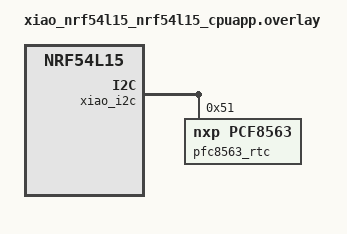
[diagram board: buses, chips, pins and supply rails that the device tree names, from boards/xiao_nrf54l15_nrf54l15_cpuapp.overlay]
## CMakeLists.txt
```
# SPDX-License-Identifier: Apache-2.0

cmake_minimum_required(VERSION 3.20.0)
find_package(Zephyr REQUIRED HINTS $ENV{ZEPHYR_BASE})
project(expansion_rtc)

target_sources(app PRIVATE
  src/main.c
)
```

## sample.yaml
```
sample:
  name: Expansion Board RTC (PCF8563)
  description: Real-time clock sample using PCF8563 RTC chip
tests:
  sample.rtc.expansion_rtc:
    harness: console
    platform_allow:
      - nrf52840dk/nrf52840
      - nrf5340dk/nrf5340/cpuapp
      - xiao_nrf54l15/nrf54l15/cpuapp
    tags: rtc i2c expansion pcf8563 time
    integration_platforms:
      - xiao_nrf54l15/nrf54l15/cpuapp
```

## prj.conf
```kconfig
# Enable I2C driver
CONFIG_I2C=y
# Enable RTC framework
CONFIG_RTC=y
# Enable PCF8563 RTC specific driver
CONFIG_RTC_PCF8563=y
```

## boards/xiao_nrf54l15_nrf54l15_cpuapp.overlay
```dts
/ {
	chosen {
		zephyr,rtc = &pfc8563_rtc;
	};
    
	aliases {
		rtc = &pfc8563_rtc;
	};
};

&xiao_i2c {
	status = "okay";

	pfc8563_rtc: pfc8563@51 {
		compatible = "nxp,pcf8563";
		reg = <0x51>;
		status = "okay";
	};
};
```

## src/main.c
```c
#include <zephyr/kernel.h>
#include <zephyr/device.h>
#include <zephyr/drivers/rtc.h>
#include <stdio.h>
#include <time.h> // For struct tm

// Define RTC device alias from device tree
#define RTC_DEVICE_NODE DT_ALIAS(rtc)

static const struct device *rtc_dev;

/**
 * @brief Sets the RTC date and time.
 *
 * @param dev Pointer to the RTC device structure.
 * @param year Year (e.g., 2025)
 * @param month Month (1-12)
 * @param day Day (1-31)
 * @param hour Hour (0-23)
 * @param minute Minute (0-59)
 * @param second Second (0-59)
 * @return 0 on success, or a negative errno code on failure.
 */
int set_rtc_time(const struct device *dev, int year, int month, int day, 
                 int hour, int minute, int second)
{
    struct rtc_time new_time;
    struct tm temp_tm = {0}; // Temporary struct tm for conversion

    // Populate temporary tm structure
    temp_tm.tm_year = year - 1900; // tm_year is years since 1900
    temp_tm.tm_mon = month - 1;   // tm_mon is months since January (0-11)
    temp_tm.tm_mday = day;
    temp_tm.tm_hour = hour;
    temp_tm.tm_min = minute;
    temp_tm.tm_sec = second;

    // Convert to struct rtc_time
    new_time.tm_year = temp_tm.tm_year;
    new_time.tm_mon = temp_tm.tm_mon;
    new_time.tm_mday = temp_tm.tm_mday;
    new_time.tm_hour = temp_tm.tm_hour;
    new_time.tm_min = temp_tm.tm_min;
    new_time.tm_sec = temp_tm.tm_sec;
    new_time.tm_wday = 0; // Not critical for PCF8563
    new_time.tm_yday = 0;
    new_time.tm_isdst = 0;

    int ret = rtc_set_time(dev, &new_time);
    if (ret == 0) {
        printk("RTC time set to: %04d-%02d-%02d %02d:%02d:%02d\n",
               year, month, day, hour, minute, second);
    } else {
        printk("Error: Failed to set RTC time! Code: %d\n", ret);
    }
    return ret;
}

int main(void)
{
    int ret;
    struct rtc_time rtc_current_time;

    printk("--- NCS RTC PCF8563 Example ---\n");

    // Get RTC device instance
    rtc_dev = DEVICE_DT_GET(RTC_DEVICE_NODE);
    if (!device_is_ready(rtc_dev)) {
        printk("Error: RTC device not ready!\n");
        return 0;
    }
    printk("RTC device ready.\n");

    // Set initial RTC date and time using the helper function
    printk("\nSetting initial RTC time...\n");
    ret = set_rtc_time(rtc_dev, 2025, 7, 23, 11, 30, 0); // 2025-07-23 11:30:00
    if (ret != 0) {
        return 0; // Exit if time setting failed
    }

    // Continuously read and print RTC time
    printk("\nContinuously reading RTC time...\n");
    while (1) {
        ret = rtc_get_time(rtc_dev, &rtc_current_time);
        if (ret == 0) {
            printk("Current RTC Time: %04d-%02d-%02d %02d:%02d:%02d\n",
                   rtc_current_time.tm_year + 1900, rtc_current_time.tm_mon + 1, rtc_current_time.tm_mday,
                   rtc_current_time.tm_hour, rtc_current_time.tm_min, rtc_current_time.tm_sec);
        } else {
            printk("Error: Failed to get RTC time! Code: %d\n", ret);
        }
        k_sleep(K_SECONDS(1)); // Read every second
    }

    return 0;
}
```
